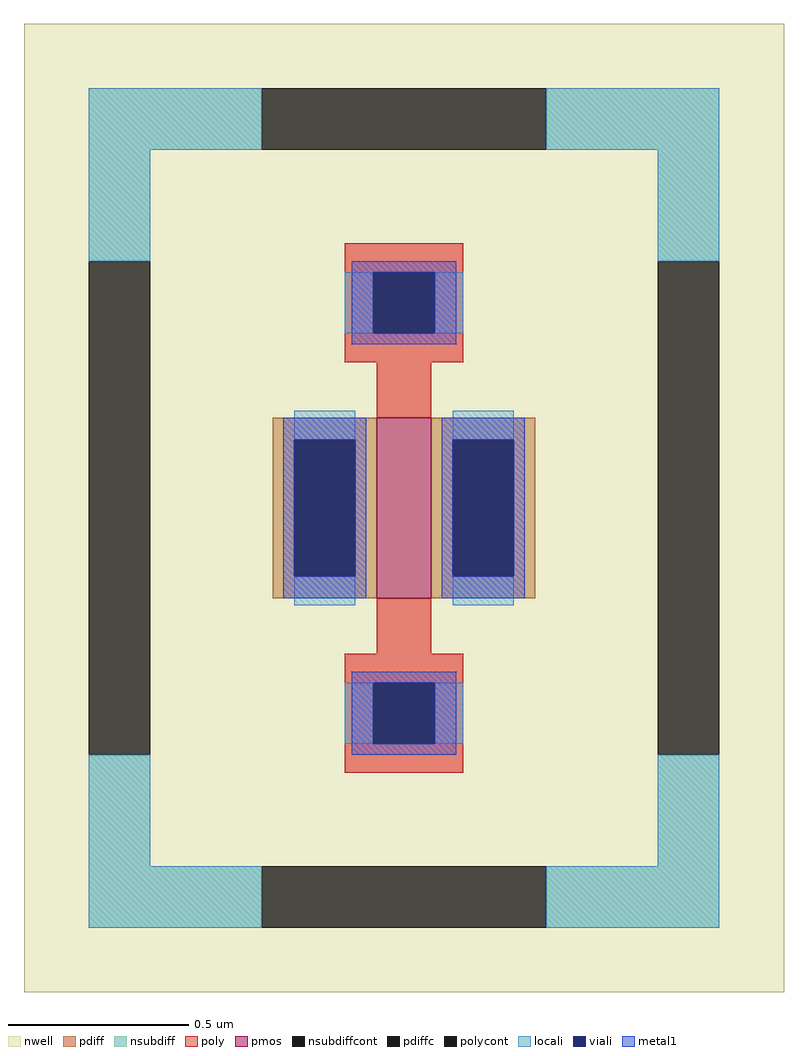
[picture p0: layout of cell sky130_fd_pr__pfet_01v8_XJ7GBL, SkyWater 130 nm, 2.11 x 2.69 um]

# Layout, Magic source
magic
tech sky130A
magscale 1 2
<< nwell >>
rect -211 -269 211 269
<< pmos >>
rect -15 -50 15 50
<< pdiff >>
rect -73 38 -15 50
rect -73 -38 -61 38
rect -27 -38 -15 38
rect -73 -50 -15 -38
rect 15 38 73 50
rect 15 -38 27 38
rect 61 -38 73 38
rect 15 -50 73 -38
<< pdiffc >>
rect -61 -38 -27 38
rect 27 -38 61 38
<< nsubdiff >>
rect -175 199 -79 233
rect 79 199 175 233
rect -175 137 -141 199
rect 141 137 175 199
rect -175 -199 -141 -137
rect 141 -199 175 -137
rect -175 -233 -79 -199
rect 79 -233 175 -199
<< nsubdiffcont >>
rect -79 199 79 233
rect -175 -137 -141 137
rect 141 -137 175 137
rect -79 -233 79 -199
<< poly >>
rect -33 131 33 147
rect -33 97 -17 131
rect 17 97 33 131
rect -33 81 33 97
rect -15 50 15 81
rect -15 -81 15 -50
rect -33 -97 33 -81
rect -33 -131 -17 -97
rect 17 -131 33 -97
rect -33 -147 33 -131
<< polycont >>
rect -17 97 17 131
rect -17 -131 17 -97
<< locali >>
rect -175 199 -79 233
rect 79 199 175 233
rect -175 137 -141 199
rect 141 137 175 199
rect -33 97 -17 131
rect 17 97 33 131
rect -61 38 -27 54
rect -61 -54 -27 -38
rect 27 38 61 54
rect 27 -54 61 -38
rect -33 -131 -17 -97
rect 17 -131 33 -97
rect -175 -199 -141 -137
rect 141 -199 175 -137
rect -175 -233 -79 -199
rect 79 -233 175 -199
<< viali >>
rect -17 97 17 131
rect -61 -38 -27 38
rect 27 -38 61 38
rect -17 -131 17 -97
<< metal1 >>
rect -29 131 29 137
rect -29 97 -17 131
rect 17 97 29 131
rect -29 91 29 97
rect -67 38 -21 50
rect -67 -38 -61 38
rect -27 -38 -21 38
rect -67 -50 -21 -38
rect 21 38 67 50
rect 21 -38 27 38
rect 61 -38 67 38
rect 21 -50 67 -38
rect -29 -97 29 -91
rect -29 -131 -17 -97
rect 17 -131 29 -97
rect -29 -137 29 -131
<< properties >>
string FIXED_BBOX -158 -216 158 216
string gencell sky130_fd_pr__pfet_01v8
string library sky130
string parameters w 0.5 l 0.15 m 1 nf 1 diffcov 100 polycov 100 guard 1 glc 1 grc 1 gtc 1 gbc 1 tbcov 100 rlcov 100 topc 1 botc 1 poverlap 0 doverlap 1 lmin 0.15 wmin 0.42 compatible {sky130_fd_pr__pfet_01v8  sky130_fd_pr__pfet_01v8_lvt sky130_fd_pr__pfet_01v8_hvt  sky130_fd_pr__pfet_g5v0d10v5} full_metal 1 viasrc 100 viadrn 100 viagate 100 viagb 0 viagr 0 viagl 0 viagt 0
<< end >>
